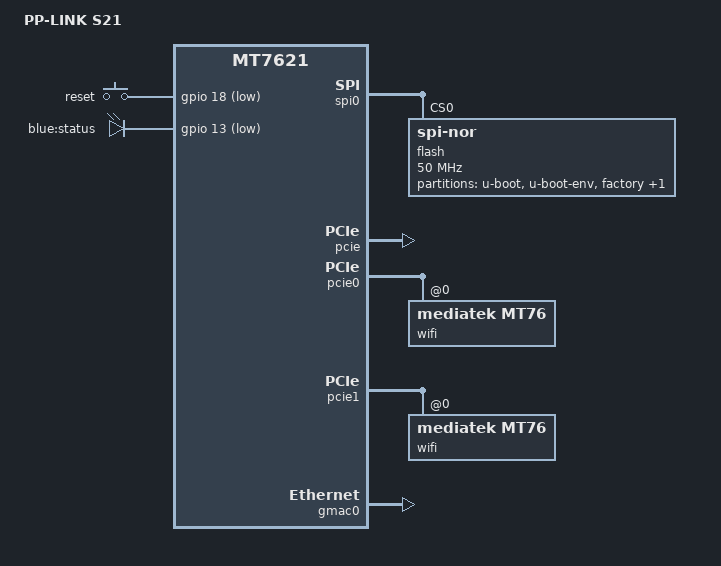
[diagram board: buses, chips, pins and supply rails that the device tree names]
#include "mt7621.dtsi"

#include <dt-bindings/gpio/gpio.h>
#include <dt-bindings/input/input.h>

/ {
	model = "PP-LINK S21";
	compatible = "pp-link,s21", "mediatek,mt7621-soc";

	aliases {
		led-boot = &led_status;
		led-failsafe = &led_status;
		led-running = &led_status;
		led-upgrade = &led_status;
	};

	// 复位键 GPIO18（官方标准配置）
	keys {
		compatible = "gpio-keys";

		reset {
			label = "reset";
			gpios = <&gpio 18 GPIO_ACTIVE_LOW>;
			linux,code = <KEY_RESTART>;
			debounce-interval = <60>;
		};
	};

	leds {
		compatible = "gpio-leds";

		led_status: status {
			label = "blue:status";
			gpios = <&gpio 13 GPIO_ACTIVE_LOW>;
		};
	};
};

&spi0 {
	status = "okay";

	flash@0 {
		compatible = "jedec,spi-nor";
		reg = <0>;
		spi-max-frequency = <50000000>;

		partitions {
			compatible = "fixed-partitions";
			#address-cells = 1;
			#size-cells = 1;

			partition@0 {
				label = "u-boot";
				reg = <0x0 0x30000>;
				read-only;
			};

			partition@30000 {
				label = "u-boot-env";
				reg = <0x30000 0x10000>;
				read-only;
			};

			factory: partition@40000 {
				label = "factory";
				reg = <0x40000 0x10000>;
				read-only;
			};

			// 16MB 固件分区
			partition@50000 {
				compatible = "denx,uimage";
				label = "firmware";
				reg = <0x50000 0xfb0000>;
			};
		};
	};
};

&pcie {
	status = "okay";
};

// 2.4G WiFi (MT7905)
&pcie0 {
	wifi@0,0 {
		compatible = "mediatek,mt76";
		reg = <0x0000 0 0 0 0>;
		mediatek,mtd-eeprom = <&factory 0x0000>;
		ieee80211-freq-limit = <2400000 2500000>;
	};
};

// 5G WiFi (MT7975)
&pcie1 {
	wifi@0,0 {
		compatible = "mediatek,mt76";
		reg = <0x0000 0 0 0 0>;
		mediatek,mtd-eeprom = <&factory 0x8000>;
		ieee80211-freq-limit = <5000000 6000000>;
	};
};

&gmac0 {
	status = "okay";
};

// 4口：1 WAN + 3 LAN
&switch0 {
	ports {
		port@1 {
			status = "okay";
			label = "wan";
		};

		port@2 {
			status = "okay";
			label = "lan1";
		};

		port@3 {
			status = "okay";
			label = "lan2";
		};

		port@4 {
			status = "okay";
			label = "lan3";
		};
	};
};

&state_default {
	gpio {
		groups = "i2c", "uart3", "wdt";
		function = "gpio";
	};
};
